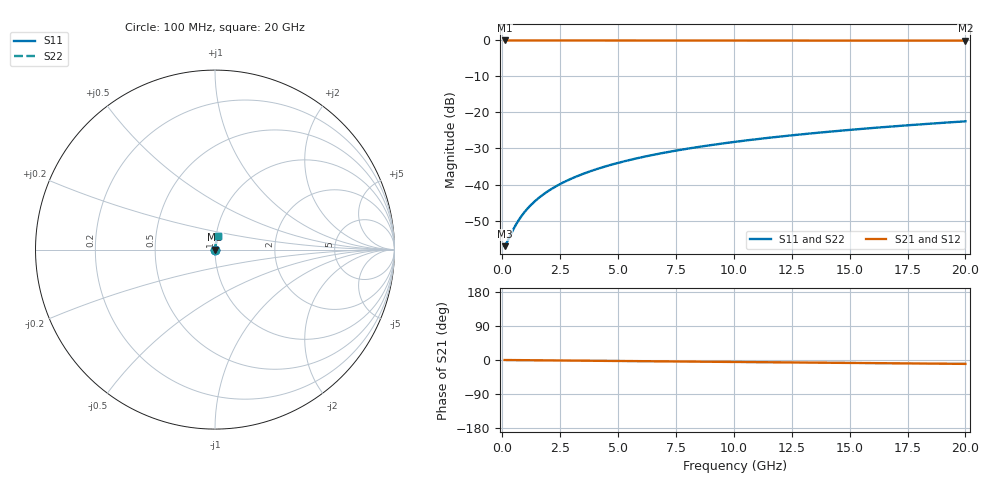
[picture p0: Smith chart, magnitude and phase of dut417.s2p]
! Touchstone file exported from HFSS 2026.1.0
!  File:  C:/ffzhzh/LocalFiles/Ansys_Project_Files/temp_train_TSV_417_1783020724_55676.aedt
!  Generated:  03:34:42 AM Jul  3, 2026
!  Design:  TSV
!  Project:  temp_train_TSV_417_1783020724_55676
! Variables:
!  h_bsmrdl = 2um
!  h_ox = 20um
!  h_rdl = 5um
!  h_sub = 99.47um
!  h_tmrdl = 5um
!  h_tsv = 99.47um
!  h_via = 3um
!  l_bsmrdl = 300um
!  l_sub = 405.88um
!  l_tmrdl = 200um
!  m_sub = 200um
!  pitch = 24.43um
!  r_tsv = 2.94um
!  s_tmrdl = 10um
!  w_bsmrdl = 18um
!  w_sub = 500um
!  w_tmrdl = 12um
!  x_tsv_center1 = 206um
!  x_tsv_center2 = 524um
!  x_tsv_center3 = 736um
!  x_tsv_center4 = 1054um
!  x_tsv_center5 = 1266um
!  x_tsv_center6 = 1584um
# GHz S MA R 50.000000
! Terminal data exported
! Port[1] = TSV1_1_T1
! Port[2] = TSV1_1_T2
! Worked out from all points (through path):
!   200 points, 100 MHz to 20 GHz, reference 50 ohm
!   highest |S21| = -0.01 dB at 100 MHz (marker M1); lowest = -0.1 dB at 20 GHz (marker M2)
!   group delay of S21, straight-line fit = 1.42 ps
!   lowest |S11| = -57.1 dB at 100 MHz (marker M3), VSWR 1.00, Z = 50.1 + j0.0418 ohm
!   |S11| at or under -10 dB: start of sweep to end of sweep
!   |S22| runs from -57.1 to -22.5 dB; largest |S21 - S12| = 7.7e-15
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0.1  0.001394 17.4  0.9987 -0.1  0.9987 -0.1  0.001394 17.4
! Gamma 0 0 0 0
! Port Impedance 50 0 50 0
0.2  0.001577 31.8  0.9987 -0.1  0.9987 -0.1  0.001577 31.8
0.5  0.002467 55.9  0.9986 -0.3  0.9986 -0.3  0.002467 55.9
0.7  0.003172 63.6  0.9986 -0.4  0.9986 -0.4  0.003172 63.6
0.8  0.003539 66.3  0.9986 -0.4  0.9986 -0.4  0.003539 66.3
1  0.004291 70.2  0.9986 -0.5  0.9986 -0.5  0.004291 70.2
1.2  0.005057 72.9  0.9986 -0.6  0.9986 -0.6  0.005057 72.9
1.4  0.005832 74.9  0.9985 -0.7  0.9985 -0.7  0.005832 74.9
1.8  0.007398 77.5  0.9985 -0.9  0.9985 -0.9  0.007398 77.5
2.3  0.009368 79.4  0.9984 -1.2  0.9984 -1.2  0.009368 79.4
2.9  0.01174 80.6  0.9983 -1.5  0.9983 -1.5  0.01174 80.6
3.5  0.0141 81.2  0.9982 -1.8  0.9982 -1.8  0.0141 81.2
4.2  0.01684 81.6  0.998 -2.2  0.998 -2.2  0.01684 81.6
5  0.01996 81.7  0.9978 -2.6  0.9978 -2.6  0.01996 81.7
5.9  0.02344 81.7  0.9976 -3.1  0.9976 -3.1  0.02344 81.7
6.8  0.02688 81.5  0.9973 -3.5  0.9973 -3.5  0.02688 81.5
8.3  0.03257 81.1  0.9969 -4.3  0.9969 -4.3  0.03257 81.1
10.1  0.0393 80.5  0.9963 -5.2  0.9963 -5.2  0.0393 80.5
11.7  0.04522 79.9  0.9958 -6.0  0.9958 -6.0  0.04522 79.9
13.4  0.05147 79.2  0.9952 -6.9  0.9952 -6.9  0.05147 79.2
16.7  0.06347 77.9  0.9941 -8.6  0.9941 -8.6  0.06347 77.9
20  0.07534 76.5  0.9929 -10.2  0.9929 -10.2  0.07534 76.5
